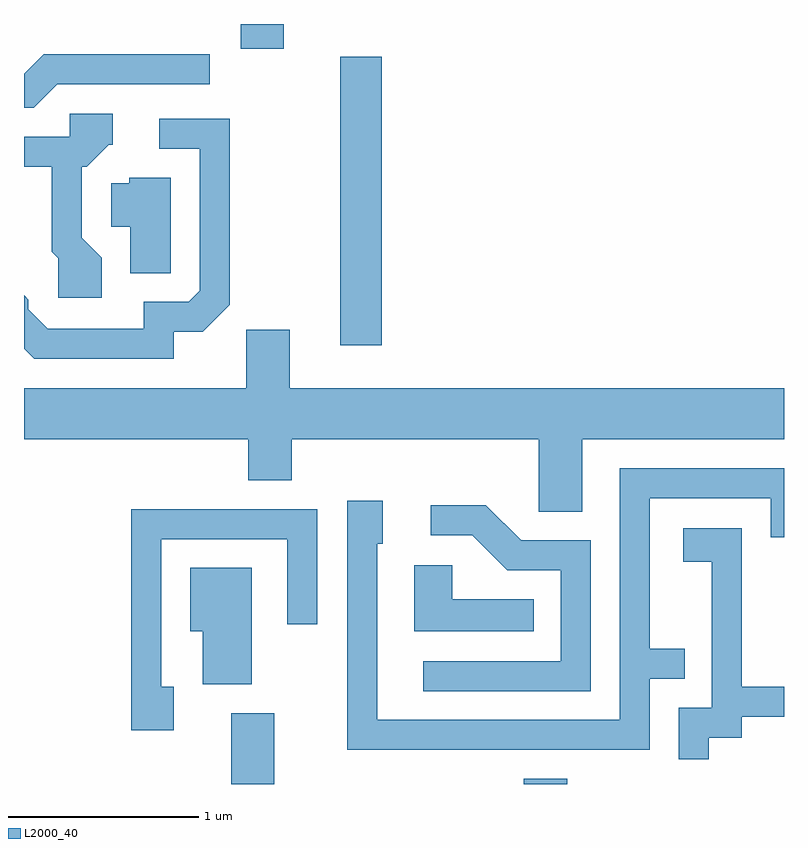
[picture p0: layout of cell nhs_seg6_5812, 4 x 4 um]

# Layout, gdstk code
import gdstk
lib = gdstk.Library(unit=1e-6, precision=1e-09)
def R(c, l, rs):  # rectangles x0, y0, x1, y1
    for r in rs: c.add(gdstk.rectangle(r[:2], r[2:], *l))
def P(c, l, *ps):  # polygons
    for p in ps: c.add(gdstk.Polygon(p, *l))
L2000_40 = (2000, 40)

nhs_seg6_5812 = lib.new_cell('nhs_seg6_5812')
R(nhs_seg6_5812, L2000_40, [(362.701,1608.162,362.929,1608.534), (364.241,1608.162,364.469,1608.189), (363.276,1610.471,363.494,1611.989), (362.751,1612.031,362.979,1612.162)])
P(nhs_seg6_5812, L2000_40, [(361.787,1611.846),(362.588,1611.846),(362.588,1612.004),(361.714,1612.004),(361.611,1611.901),(361.611,1611.721),(361.662,1611.721)],
  [(362.019,1610.932),(361.914,1611.037),(361.914,1611.411),(361.942,1611.411),(362.057,1611.526),(362.079,1611.526),(362.079,1611.689),(361.851,1611.689),(361.851,1611.569),(361.611,1611.569),(361.611,1611.411),(361.756,1611.411),(361.756,1610.964),(361.791,1610.929),(361.791,1610.721),(362.019,1610.721)],
  [(362.399,1610.541),(362.552,1610.541),(362.694,1610.684),(362.694,1611.664),(362.323,1611.664),(362.323,1611.506),(362.536,1611.506),(362.536,1610.757),(362.479,1610.699),(362.241,1610.699),(362.241,1610.559),(361.737,1610.559),(361.634,1610.662),(361.634,1610.712),(361.611,1610.735),(361.611,1610.454),(361.664,1610.401),(362.399,1610.401)],
  [(362.384,1611.354),(362.166,1611.354),(362.166,1611.324),(362.071,1611.324),(362.071,1611.096),(362.171,1611.096),(362.171,1610.851),(362.384,1610.851)],
  [(364.549,1609.976),(365.611,1609.976),(365.611,1610.244),(363.009,1610.244),(363.009,1610.554),(362.781,1610.554),(362.781,1610.244),(361.611,1610.244),(361.611,1609.976),(362.791,1609.976),(362.791,1609.761),(363.019,1609.761),(363.019,1609.976),(364.321,1609.976),(364.321,1609.596),(364.549,1609.596)],
  [(364.904,1608.716),(365.088,1608.716),(365.088,1608.874),(364.904,1608.874),(364.904,1609.666),(365.541,1609.666),(365.541,1609.461),(365.611,1609.461),(365.611,1609.824),(364.746,1609.824),(364.746,1608.499),(363.469,1608.499),(363.469,1609.426),(363.499,1609.426),(363.499,1609.654),(363.311,1609.654),(363.311,1608.341),(364.904,1608.341)],
  [(364.594,1609.444),(364.227,1609.444),(364.042,1609.629),(363.753,1609.629),(363.753,1609.471),(363.969,1609.471),(364.154,1609.286),(364.436,1609.286),(364.436,1608.809),(363.713,1608.809),(363.713,1608.651),(364.594,1608.651)],
  [(362.399,1608.674),(362.334,1608.674),(362.334,1609.451),(362.996,1609.451),(362.996,1609.003),(363.154,1609.003),(363.154,1609.609),(362.176,1609.609),(362.176,1608.446),(362.399,1608.446)],
  [(365.214,1608.406),(365.389,1608.406),(365.389,1608.516),(365.611,1608.516),(365.611,1608.674),(365.389,1608.674),(365.389,1609.509),(365.081,1609.509),(365.081,1609.331),(365.231,1609.331),(365.231,1608.564),(365.056,1608.564),(365.056,1608.293),(365.214,1608.293)],
  [(364.293,1609.134),(363.864,1609.134),(363.864,1609.314),(363.666,1609.314),(363.666,1608.966),(364.293,1608.966)],
  [(362.809,1609.299),(362.486,1609.299),(362.486,1608.966),(362.551,1608.966),(362.551,1608.686),(362.809,1608.686)])

lib.write_gds('nhs_seg6_5812.gds')
